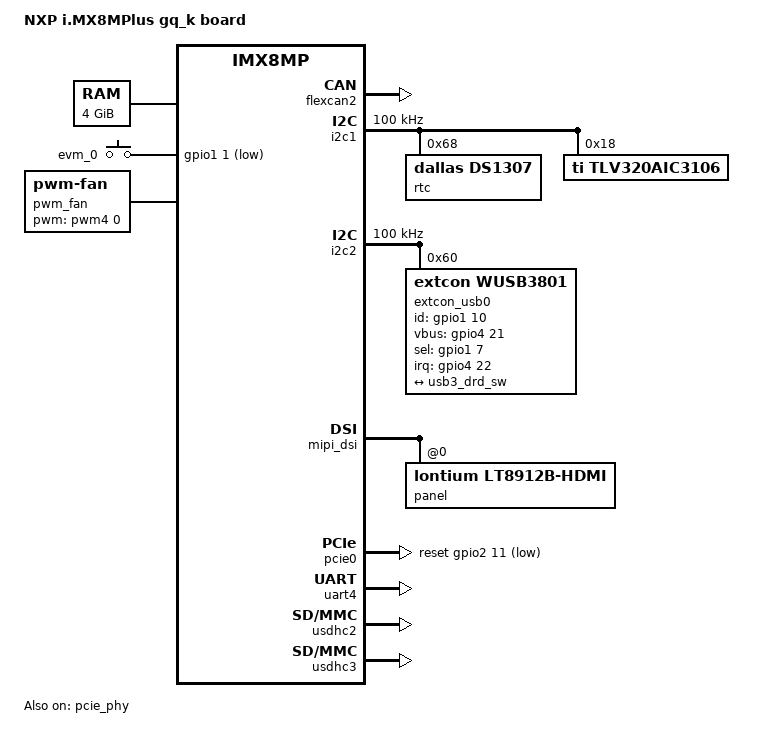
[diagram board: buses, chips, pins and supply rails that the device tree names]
// SPDX-License-Identifier: GPL-2.0+
/*
 * Copyright 2018 NXP
 */

#include "imx8mp-gq.dts"

/ {
	model = "NXP i.MX8MPlus gq_k board";
	compatible = "fsl,imx8mp-gq", "fsl,imx8mp";

	chosen {
		stdout-path = &uart1;
	};

	gpio-leds {
		status {
			/delete-property/ default-state;
			linux,default-trigger = "heartbeat";
		};

		core@2 {
			label = "core_2";
			gpios = <&gpio1 0 GPIO_ACTIVE_HIGH>;
			default-state = "on";
		};

		evm@1 {
			label = "evm_1";
			gpios = <&gpio1 5 GPIO_ACTIVE_HIGH>;
			linux,default-trigger = "mmc1"; /* SD */
			default-state = "off";
		};

		usb2@1 {
			label = "usb2_1";
			gpios = <&gpio4 28 GPIO_ACTIVE_HIGH>;
			default-state = "on";
		};

		usb2@2 {
			label = "usb2_2";
			gpios = <&gpio1 6 GPIO_ACTIVE_HIGH>;
			default-state = "on";
		};

		usb2@3 {
			label = "usb2_3";
			gpios = <&gpio5 5 GPIO_ACTIVE_HIGH>;
			default-state = "on";
		};
	};

	memory@40000000 {
		device_type = "memory";
		reg = <0x0 0x40000000 0 0xc0000000>,
		      <0x1 0x00000000 0 0x40000000>;
	};

	gpio-keys {
		compatible = "gpio-keys";
		// autorepeat;
		pinctrl-names = "default";
		pinctrl-0 = <&pinctrl_gpio_key>;

		evm@0 {
			label = "evm_0";
			linux,code = <KEY_ESC>;
			debounce-interval = <100>;
			gpios = <&gpio1 1 GPIO_ACTIVE_LOW>;
		};
	};

	pwm_fan {
		compatible = "pwm-fan";
		cooling-min-state = <0>;
		cooling-max-state = <3>;
		#cooling-cells = <2>;
		pwms = <&pwm4 0 50000 0>;
		cooling-levels = <0 102 170 230>;
	};

	sound-sai {
		compatible = "simple-audio-card";
		simple-audio-card,name = "TLV320AIC3x-Card";
		simple-audio-card,format = "dsp_b";
		simple-audio-card,bitclock-inversion;
		simple-audio-card,frame-master = <&dailink_master>;
		simple-audio-card,bitclock-master = <&dailink_master>;
		simple-audio-card,widgets =
			"Line", "Line In Jack",
			"Line", "Line Out Jack";
		simple-audio-card,routing =
			"LINE1L", "Line In Jack",
			"LINE1R", "Line In Jack",
			"Line Out Jack", "LLOUT",
			"Line Out Jack", "RLOUT";

		simple-audio-card,cpu {
			sound-dai = <&sai3>;
		};

		dailink_master: simple-audio-card,codec {
			sound-dai = <&tlv320aic3106>;
			clocks = <&audio_blk_ctrl IMX8MP_CLK_AUDIOMIX_SAI3_MCLK1>;
		};
	};
};

/* ETH1 up */
&eqos {
	local-mac-address = [00 26 22 d9 fa 31];
};

&ethphy0 {
    reset-gpios = <&gpio4 0 GPIO_ACTIVE_LOW>;
    reset-assert-us = <50000>;
    reset-deassert-us = <50000>;
    /delete-property/ realtek,clkout-disable;
    motorcomm,auto-sleep-disabled;
    motorcomm,keep-pll-enabled;
	// tx-internal-delay-ps = <1200>;
	// rx-internal-delay-ps = <0>;
};

/* ETH0 bottom */
&fec {
	local-mac-address = [00 26 22 d9 fa 30];
};

&ethphy1 {
    reg = <0>;
    reset-gpios = <&gpio4 24 GPIO_ACTIVE_LOW>;
    reset-assert-us = <50000>;
    reset-deassert-us = <50000>;
    /delete-property/ realtek,aldps-enable;
    /delete-property/ realtek,clkout-disable;
    motorcomm,auto-sleep-disabled;
    motorcomm,keep-pll-enabled;
	// tx-internal-delay-ps = <150>;
	// rx-internal-delay-ps = <0>;
};

&flexcan1 {
	/delete-property/ xceiver-supply;
};

&flexcan2 {
	/delete-property/ xceiver-supply;
	/delete-property/ pinctrl-assert-gpios;
	status = "okay";
};

&i2c1 {
	clock-frequency = <100000>;

	rtc@68 {
		compatible = "dallas,ds1307";
		reg = <0x68>;
	};

	tlv320aic3106: codec@18 {
		compatible = "ti,tlv320aic3106";
		reg = <0x18>;
		#sound-dai-cells = <0>;
		ai3x-ocmv = <1>; /* Output Common-Mode Voltage 1.5V */
		ai3x-micbias-vg = <2>; /* MICBIAS output is powered to 2.5V */
	};
};

&i2c2 {
	clock-frequency = <100000>;

	extcon_usb0: wusb3801@60 {
		compatible = "extcon,wusb3801";
		reg = <0x60>;
		pinctrl-names = "default";
		pinctrl-0 = <&pinctrl_usb0_extcon>;
		interrupt-parent = <&gpio4>;
		interrupts = <22 IRQ_TYPE_LEVEL_LOW>;
		id-gpios = <&gpio1 10 GPIO_ACTIVE_HIGH>;
		vbus-gpios = <&gpio4 21 GPIO_ACTIVE_HIGH>;
		sel-gpios = <&gpio1 7 GPIO_ACTIVE_HIGH>;

		port {
			typec_dr_sw: endpoint {
				remote-endpoint = <&usb3_drd_sw>;
			};
		};
	};
};

&mipi_dsi {
	/delete-node/ port@1;
	panel@0 {
		compatible = "lontium,lt8912b-hdmi";
		reg = <0>;
	};
};

&pcie_phy {
	status = "okay";
};

&pcie0 {
	reset-gpio = <&gpio2 11 GPIO_ACTIVE_LOW>;
	/delete-property/ host-wake-gpio;
	/delete-property/ vpcie-supply;
	/delete-property/ supports-clkreq;
	status = "okay";
};

&sai3 {
	assigned-clock-rates = <24576000>;
};

&uart1 {
	/delete-property/ assigned-clocks;
	/delete-property/ assigned-clock-parents;
	/delete-property/ uart-has-rtscts;

    /delete-node/ bluetooth;
};

&usb_dwc3_1 {
	/delete-property/ vbus-supply;
};

&uart3 {
	/delete-property/ assigned-clocks;
	/delete-property/ assigned-clock-parents;
	/delete-property/ uart-has-rtscts;
};

&uart4 {
	pinctrl-names = "default";
	pinctrl-0 = <&pinctrl_uart4>;
	status = "okay";
};

&reg_usdhc2_vmmc {
	off-on-delay-us = <100000>;
	startup-delay-us = <20000>;
	regulator-always-on;
};

/* SD */
&usdhc2 {
	cap-sd-highspeed;
	cap-mmc-highspeed;
	// sd-uhs-sdr12;
	// sd-uhs-sdr25;
	sdhci-caps-mask = <0x7 0x0>;
	// no-1-8-v;
	status = "okay";
};

/* eMMC */
&usdhc3 {
	mmc-hs400-1_8v;
	mmc-hs400-enhanced-strobe;
	status = "okay";
};

&iomuxc {
	pinctrl-0 = <&pinctrl_hog &pinctrl_hw_wdog &pinctrl_isolate_io>;

	pinctrl_eqos: eqosgrp {
		fsl,pins = <
			MX8MP_IOMUXC_ENET_MDC__ENET_QOS_MDC				0x2
			MX8MP_IOMUXC_ENET_MDIO__ENET_QOS_MDIO				0x2
			MX8MP_IOMUXC_ENET_RD0__ENET_QOS_RGMII_RD0			0x90
			MX8MP_IOMUXC_ENET_RD1__ENET_QOS_RGMII_RD1			0x90
			MX8MP_IOMUXC_ENET_RD2__ENET_QOS_RGMII_RD2			0x90
			MX8MP_IOMUXC_ENET_RD3__ENET_QOS_RGMII_RD3			0x90
			MX8MP_IOMUXC_ENET_RXC__CCM_ENET_QOS_CLOCK_GENERATE_RX_CLK	0x90
			MX8MP_IOMUXC_ENET_RX_CTL__ENET_QOS_RGMII_RX_CTL			0x90
			MX8MP_IOMUXC_ENET_TD0__ENET_QOS_RGMII_TD0			0x16
			MX8MP_IOMUXC_ENET_TD1__ENET_QOS_RGMII_TD1			0x16
			MX8MP_IOMUXC_ENET_TD2__ENET_QOS_RGMII_TD2			0x16
			MX8MP_IOMUXC_ENET_TD3__ENET_QOS_RGMII_TD3			0x16
			MX8MP_IOMUXC_ENET_TX_CTL__ENET_QOS_RGMII_TX_CTL			0x16
			MX8MP_IOMUXC_ENET_TXC__CCM_ENET_QOS_CLOCK_GENERATE_TX_CLK	0x16
			MX8MP_IOMUXC_SAI1_RXFS__GPIO4_IO00				0x10
		>;
	};

	pinctrl_fec: fecgrp {
		fsl,pins = <
			MX8MP_IOMUXC_SAI1_RXD2__ENET1_MDC		0x2
			MX8MP_IOMUXC_SAI1_RXD3__ENET1_MDIO		0x2
			MX8MP_IOMUXC_SAI1_RXD4__ENET1_RGMII_RD0		0x90
			MX8MP_IOMUXC_SAI1_RXD5__ENET1_RGMII_RD1		0x90
			MX8MP_IOMUXC_SAI1_RXD6__ENET1_RGMII_RD2		0x90
			MX8MP_IOMUXC_SAI1_RXD7__ENET1_RGMII_RD3		0x90
			MX8MP_IOMUXC_SAI1_TXC__ENET1_RGMII_RXC		0x90
			MX8MP_IOMUXC_SAI1_TXFS__ENET1_RGMII_RX_CTL	0x90
			MX8MP_IOMUXC_SAI1_TXD0__ENET1_RGMII_TD0		0x16
			MX8MP_IOMUXC_SAI1_TXD1__ENET1_RGMII_TD1		0x16
			MX8MP_IOMUXC_SAI1_TXD2__ENET1_RGMII_TD2		0x16
			MX8MP_IOMUXC_SAI1_TXD3__ENET1_RGMII_TD3		0x16
			MX8MP_IOMUXC_SAI1_TXD4__ENET1_RGMII_TX_CTL	0x16
			MX8MP_IOMUXC_SAI1_TXD5__ENET1_RGMII_TXC		0x16
			MX8MP_IOMUXC_SAI2_TXFS__GPIO4_IO24		0x10
		>;
	};

	pinctrl_flexcan2: flexcan2grp {
		fsl,pins = <
			MX8MP_IOMUXC_SAI2_MCLK__CAN2_RX         0x154
			MX8MP_IOMUXC_SAI2_TXD0__CAN2_TX         0x154
		>;
	};

	pinctrl_gpio_led: gpioledgrp {
		fsl,pins = <
			MX8MP_IOMUXC_NAND_READY_B__GPIO3_IO16	0x140
			MX8MP_IOMUXC_GPIO1_IO00__GPIO1_IO00		0x140
			MX8MP_IOMUXC_GPIO1_IO05__GPIO1_IO05		0x140
			MX8MP_IOMUXC_SAI3_RXFS__GPIO4_IO28		0x140
			MX8MP_IOMUXC_GPIO1_IO06__GPIO1_IO06		0x140
			MX8MP_IOMUXC_SPDIF_EXT_CLK__GPIO5_IO05	0x140
		>;
	};

	pinctrl_hog: hoggrp {
		fsl,pins = <
			MX8MP_IOMUXC_HDMI_DDC_SCL__HDMIMIX_HDMI_SCL	0x400001c2
			MX8MP_IOMUXC_HDMI_DDC_SDA__HDMIMIX_HDMI_SDA	0x400001c2
			MX8MP_IOMUXC_HDMI_HPD__HDMIMIX_HDMI_HPD		0x40000010
			MX8MP_IOMUXC_HDMI_CEC__HDMIMIX_HDMI_CEC		0x40000010
		>;
	};

	pinctrl_pcie0: pcie0grp {
		fsl,pins = <
			MX8MP_IOMUXC_SD1_STROBE__GPIO2_IO11	0x40
		>;
	};

	pinctrl_uart1: uart1grp {
		fsl,pins = <
			MX8MP_IOMUXC_UART1_RXD__UART1_DCE_RX	0x140
			MX8MP_IOMUXC_UART1_TXD__UART1_DCE_TX	0x140
		>;
	};

	pinctrl_uart3: uart3grp {
		fsl,pins = <
			MX8MP_IOMUXC_UART3_TXD__UART3_DCE_TX		0x140
			MX8MP_IOMUXC_UART3_RXD__UART3_DCE_RX		0x140
		>;
	};

	pinctrl_usdhc2_100mhz: usdhc2-100mhzgrp {
		fsl,pins = <
			MX8MP_IOMUXC_SD2_CLK__USDHC2_CLK	0x190
			MX8MP_IOMUXC_SD2_CMD__USDHC2_CMD	0x1d0
			MX8MP_IOMUXC_SD2_DATA0__USDHC2_DATA0	0x1d0
			MX8MP_IOMUXC_SD2_DATA1__USDHC2_DATA1	0x1d0
			MX8MP_IOMUXC_SD2_DATA2__USDHC2_DATA2	0x1d0
			MX8MP_IOMUXC_SD2_DATA3__USDHC2_DATA3	0x1d0
			MX8MP_IOMUXC_GPIO1_IO04__USDHC2_VSELECT 0xc0
		>;
	};

	pinctrl_usdhc2_200mhz: usdhc2-200mhzgrp {
		fsl,pins = <
			MX8MP_IOMUXC_SD2_CLK__USDHC2_CLK	0x190
			MX8MP_IOMUXC_SD2_CMD__USDHC2_CMD	0x1d0
			MX8MP_IOMUXC_SD2_DATA0__USDHC2_DATA0	0x1d0
			MX8MP_IOMUXC_SD2_DATA1__USDHC2_DATA1	0x1d0
			MX8MP_IOMUXC_SD2_DATA2__USDHC2_DATA2	0x1d0
			MX8MP_IOMUXC_SD2_DATA3__USDHC2_DATA3	0x1d0
			MX8MP_IOMUXC_GPIO1_IO04__USDHC2_VSELECT 0xc0
		>;
	};

	pinctrl_usdhc3: usdhc3grp {
		fsl,pins = <
			MX8MP_IOMUXC_NAND_WE_B__USDHC3_CLK	0x196
			MX8MP_IOMUXC_NAND_WP_B__USDHC3_CMD	0x1d6
			MX8MP_IOMUXC_NAND_DATA04__USDHC3_DATA0	0x1d6
			MX8MP_IOMUXC_NAND_DATA05__USDHC3_DATA1	0x1d6
			MX8MP_IOMUXC_NAND_DATA06__USDHC3_DATA2	0x1d6
			MX8MP_IOMUXC_NAND_DATA07__USDHC3_DATA3	0x1d6
			MX8MP_IOMUXC_NAND_RE_B__USDHC3_DATA4	0x1d6
			MX8MP_IOMUXC_NAND_CE2_B__USDHC3_DATA5	0x1d6
			MX8MP_IOMUXC_NAND_CE3_B__USDHC3_DATA6	0x1d6
			MX8MP_IOMUXC_NAND_CLE__USDHC3_DATA7	0x1d6
			MX8MP_IOMUXC_NAND_CE1_B__USDHC3_STROBE	0x196
		>;
	};

	pinctrl_usdhc3_100mhz: usdhc3-100mhzgrp {
		fsl,pins = <
			MX8MP_IOMUXC_NAND_WE_B__USDHC3_CLK	0x196
			MX8MP_IOMUXC_NAND_WP_B__USDHC3_CMD	0x1d6
			MX8MP_IOMUXC_NAND_DATA04__USDHC3_DATA0	0x1d6
			MX8MP_IOMUXC_NAND_DATA05__USDHC3_DATA1	0x1d6
			MX8MP_IOMUXC_NAND_DATA06__USDHC3_DATA2	0x1d6
			MX8MP_IOMUXC_NAND_DATA07__USDHC3_DATA3	0x1d6
			MX8MP_IOMUXC_NAND_RE_B__USDHC3_DATA4	0x1d6
			MX8MP_IOMUXC_NAND_CE2_B__USDHC3_DATA5	0x1d6
			MX8MP_IOMUXC_NAND_CE3_B__USDHC3_DATA6	0x1d6
			MX8MP_IOMUXC_NAND_CLE__USDHC3_DATA7	0x1d6
			MX8MP_IOMUXC_NAND_CE1_B__USDHC3_STROBE	0x196
		>;
	};

	pinctrl_gpio_key: gpiokeygrp {
		fsl,pins = <
			MX8MP_IOMUXC_GPIO1_IO01__GPIO1_IO01	0x00000106
		>;
	};

	pinctrl_usb0_extcon: usb0grp {
		fsl,pins = <
			MX8MP_IOMUXC_SAI2_RXC__GPIO4_IO22	0x1c4
			MX8MP_IOMUXC_GPIO1_IO10__GPIO1_IO10	0x1c4
			MX8MP_IOMUXC_SAI2_RXFS__GPIO4_IO21	0x10
			MX8MP_IOMUXC_GPIO1_IO07__GPIO1_IO07	0x10
		>;
	};

	pinctrl_uart4: uart4grp {
		fsl,pins = <
			MX8MP_IOMUXC_UART4_TXD__UART4_DCE_TX		0x140
			MX8MP_IOMUXC_UART4_RXD__UART4_DCE_RX		0x140
		>;
	};

	pinctrl_hw_wdog: hw_wdoggrp {
		fsl,pins = <
			MX8MP_IOMUXC_SD1_DATA6__GPIO2_IO08	0x00000106	/* WDOG_WDI  */
			MX8MP_IOMUXC_SD1_DATA7__GPIO2_IO09	0x00000106	/* WDOG_SET */
		>;
	};

	pinctrl_isolate_io: isolate_iogrp {
		fsl,pins = <
			MX8MP_IOMUXC_SD1_DATA2__GPIO2_IO04	0x00000106	/* DO1 - 36 */
			MX8MP_IOMUXC_SD1_CLK__GPIO2_IO00	0x00000106	/* DI1 - 32 */
			MX8MP_IOMUXC_SD1_DATA3__GPIO2_IO05	0x00000106	/* DO2 - 37 */
			MX8MP_IOMUXC_SD1_CMD__GPIO2_IO01	0x00000106	/* DI2 - 33 */
			MX8MP_IOMUXC_SD1_DATA4__GPIO2_IO06	0x00000106	/* DO3 - 38 */
			MX8MP_IOMUXC_SD1_DATA0__GPIO2_IO02	0x00000106	/* DI3 - 34 */
			MX8MP_IOMUXC_SD1_DATA5__GPIO2_IO07	0x00000106	/* DO4 - 39 */
			MX8MP_IOMUXC_SD1_DATA1__GPIO2_IO03	0x00000106	/* DI4 - 35 */
		>;
	};
};
